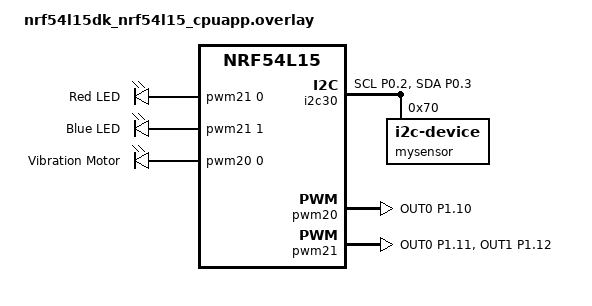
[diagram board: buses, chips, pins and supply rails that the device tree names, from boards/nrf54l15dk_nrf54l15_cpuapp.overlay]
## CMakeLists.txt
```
# SPDX-License-Identifier: Apache-2.0

cmake_minimum_required(VERSION 3.20.0)
find_package(Zephyr REQUIRED HINTS $ENV{ZEPHYR_BASE})
project(mvp)

target_sources(app PRIVATE 
#    src/main.c
#    src/led_control.c
#    src/button_input.c
#    src/motor_driver.c

    test/mpu6050.c
)

# 头文件路径
zephyr_include_directories(include)
```

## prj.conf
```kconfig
CONFIG_GPIO=y
CONFIG_PWM=y
CONFIG_LOG=y
CONFIG_LED=y
CONFIG_I2C=y
CONFIG_CBPRINTF_FP_SUPPORT=y
```

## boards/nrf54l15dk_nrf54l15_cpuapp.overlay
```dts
&i2c30 {
    status = "okay";
    pinctrl-0 = <&i2c30_default>;
	pinctrl-1 = <&i2c30_sleep>;
    pinctrl-names = "default", "sleep";
    mysensor: mysensor@70{
        compatible = "i2c-device";
        status = "okay";
        reg = < 0x70 >;
    };
};


// PWM20: 专门用于马达
&pwm20 {
    status = "okay";
    pinctrl-0 = <&pwm20_default_motor>;
    pinctrl-1 = <&pwm20_sleep_motor>;
    pinctrl-names = "default", "sleep";
};

// PWM21: 专门用于双色LED
&pwm21 {
    status = "okay";
    pinctrl-0 = <&pwm21_default_leds>;
    pinctrl-1 = <&pwm21_sleep_leds>;
    pinctrl-names = "default", "sleep";
};

&pinctrl {
    // PWM20 引脚配置 - 仅马达
    pwm20_default_motor: pwm20_default_motor {
        group1 {
            psels = <NRF_PSEL(PWM_OUT0, 1, 10)>;   /* 马达 P1.10, PWM20 ch0 */
        };
    };
    pwm20_sleep_motor: pwm20_sleep_motor {
        group1 {
            psels = <NRF_PSEL(PWM_OUT0, 1, 10)>;
            low-power-enable;
        };
    };

    // PWM21 引脚配置 - 仅双色LED  
    pwm21_default_leds: pwm21_default_leds {
        group1 {
            psels = <NRF_PSEL(PWM_OUT0, 1, 11)>,   /* 红灯 P1.11, PWM21 ch0 */
                    <NRF_PSEL(PWM_OUT1, 1, 12)>;   /* 蓝灯 P1.12, PWM21 ch1 */
        };
    };
    pwm21_sleep_leds: pwm21_sleep_leds {
        group1 {
            psels = <NRF_PSEL(PWM_OUT0, 1, 11)>,
                    <NRF_PSEL(PWM_OUT1, 1, 12)>;
            low-power-enable;
        };
    };

	/omit-if-no-ref/ i2c30_default: i2c30_default {
		group1  {
			psels = <NRF_PSEL(TWIM_SCL, 0, 2)>,
					<NRF_PSEL(TWIM_SDA, 0, 3)>;
		};
	};

	/omit-if-no-ref/ i2c30_sleep: i2c30_sleep {
		group1  {
			psels = <NRF_PSEL(TWIM_SCL, 0, 2)>,
					<NRF_PSEL(TWIM_SDA, 0, 3)>;
			low-power-enable;
		};
	};
};

/ {
    pwmleds {
        compatible = "pwm-leds";

        // 双色LED使用PWM21
        pwmred: pwmred {
            pwms = <&pwm21 0 PWM_MSEC(20) PWM_POLARITY_NORMAL>;  /* PWM21 ch0 P1.11 */
            label = "Red LED";
        };

        pwmblue: pwmblue {
            pwms = <&pwm21 1 PWM_MSEC(20) PWM_POLARITY_NORMAL>;  /* PWM21 ch1 P1.12 */
            label = "Blue LED";
        };

        // 马达使用PWM20
        pwmmotor: pwmmotor {
            pwms = <&pwm20 0 PWM_MSEC(20) PWM_POLARITY_NORMAL>;  /* PWM20 ch0 P1.10 */
            label = "Vibration Motor";
        };
    };

    aliases {
        ledred = &pwmred;
        ledblue = &pwmblue;
        motor0 = &pwmmotor;
        i2c0 = &i2c30;
    };
};
```

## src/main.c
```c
#include "led_control.h"
#include "button_input.h"
#include "motor_driver.h" // 后续你可以扩展
#include <zephyr/kernel.h>

void my_button_event(button_index_t idx, bool pressed)
{
    static led_mode_t led_mode = LED_MODE_RED;
    static int motor_pwm_mode = 0;

    if (!pressed) return; // 只处理按下事件，松开可做长按等

    switch(idx) {
    case BUTTON_SW0:
        // 切换 LED1 不同 PWM 模式
        led_mode = (led_mode+1)%LED_MODE_NUM;
        led_control_set_mode(led_mode);
        printk("LED模式切换到: %d\n", led_mode);
        break;
    case BUTTON_SW1:
        motor_pwm_mode = (motor_pwm_mode+1)%MOTOR_VIB_MODE_NUM;
        motor_driver_set_mode(motor_pwm_mode);     // 例: 不同PWM
        printk("马达PWM模式切换到: %d\n", motor_pwm_mode);
        break;
    case BUTTON_SW2:
        printk("BUTTON_SW2 pressed\n");
        break;
    case BUTTON_SW3:
        printk("BUTTON_SW3 pressed\n");
        break;
    default: break;
    }
}


#define LED_THREAD_STACK_SIZE 512
#define MOTOR_THREAD_STACK_SIZE 512
#define LED_THREAD_PRIORITY 5
#define MOTOR_THREAD_PRIORITY 5

K_THREAD_STACK_DEFINE(led_stack, LED_THREAD_STACK_SIZE);
K_THREAD_STACK_DEFINE(motor_stack, MOTOR_THREAD_STACK_SIZE);
struct k_thread led_thread_data;
struct k_thread motor_thread_data;

void led_thread_fn(void *a, void *b, void *c) {
    while (1) {
        led_control_periodic();
        k_msleep(15);
    }
}

void motor_thread_fn(void *a, void *b, void *c) {
    while (1) {
        motor_driver_periodic();
    }
}

void main(void)
{
    led_control_init();
    motor_driver_init();
    button_input_init(my_button_event);

    k_thread_create(&led_thread_data, led_stack, LED_THREAD_STACK_SIZE,
                    led_thread_fn, NULL, NULL, NULL,
                    LED_THREAD_PRIORITY, 0, K_NO_WAIT);

    k_thread_create(&motor_thread_data, motor_stack, MOTOR_THREAD_STACK_SIZE,
                    motor_thread_fn, NULL, NULL, NULL,
                    MOTOR_THREAD_PRIORITY, 0, K_NO_WAIT);

    while (1) {
        k_msleep(1000); // 主线程空转，可做看门狗等
    }
}
```

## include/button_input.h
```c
#include <stdbool.h>

#ifndef BUTTON_INPUT_H
#define BUTTON_INPUT_H

typedef enum {
    BUTTON_SW0 = 0,
    BUTTON_SW1,
    BUTTON_SW2,
    BUTTON_SW3,
    BUTTON_NUM
} button_index_t;

// 生产级: 每个按钮都传入index
typedef void (*button_event_cb_t)(button_index_t, bool pressed);
// bool pressed: true为按下，false为松开（可做长按逻辑）

int button_input_init(button_event_cb_t cb);

#endif
```

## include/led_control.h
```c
#ifndef LED_CONTROL_H
#define LED_CONTROL_H

#include <stdint.h>

typedef enum {
    LED_MODE_OFF = 0,
    LED_MODE_RED,
    LED_MODE_BLUE,
    LED_MODE_PURPLE,
    LED_MODE_BREATH,
    LED_MODE_FLASH,
    LED_MODE_USER,
    LED_MODE_USER_BREATH,
    LED_MODE_NUM
} led_mode_t;

// 初始化LED硬件
int led_control_init(void);

// 设置混色（占空比百分比），可灵活调用
void led_control_set_color(uint8_t red_percent, uint8_t blue_percent);

// 设置当前展示模式（预设的呼吸、危险等）
int led_control_set_mode(led_mode_t mode);

// 必须周期调用，一般main里刷新（可放定时器任务/线程里）
int led_control_periodic(void);

#endif
```

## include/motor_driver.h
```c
#ifndef MOTOR_DRIVER_H
#define MOTOR_DRIVER_H


typedef enum {
    MOTOR_VIB_OFF = 0,
	MOTOR_VIB_HEARTBEAT,
	MOTOR_VIB_TAP,
	MOTOR_VIB_LONG,
    MOTOR_VIB_MODE_NUM
} motor_vib_mode_t;

int motor_driver_init(void);
int motor_driver_set_mode(motor_vib_mode_t mode); // 选择振动模式
int motor_driver_periodic(void); // 可用于周期性处理

#endif
```

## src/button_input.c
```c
#include "button_input.h"
#include <zephyr/drivers/gpio.h>
#include <zephyr/kernel.h>

#define BUTTON_SW0_NODE DT_ALIAS(sw0)
#define BUTTON_SW1_NODE DT_ALIAS(sw1)
#define BUTTON_SW2_NODE DT_ALIAS(sw2)
#define BUTTON_SW3_NODE DT_ALIAS(sw3)

static const struct gpio_dt_spec buttons[BUTTON_NUM] = {
    GPIO_DT_SPEC_GET(BUTTON_SW0_NODE, gpios),
    GPIO_DT_SPEC_GET(BUTTON_SW1_NODE, gpios),
    GPIO_DT_SPEC_GET(BUTTON_SW2_NODE, gpios),
    GPIO_DT_SPEC_GET(BUTTON_SW3_NODE, gpios),
};

static struct gpio_callback btn_cb_data[BUTTON_NUM];
static button_event_cb_t g_btn_cb = NULL;

// 生产级支持所有SWx的callback
static void button_handler(const struct device *dev, struct gpio_callback *cb, uint32_t pins)
{
    for (int i = 0; i < BUTTON_NUM; ++i) {
        if ((pins & BIT(buttons[i].pin)) && g_btn_cb) {
            bool pressed = !gpio_pin_get_dt(&buttons[i]);     // Active low
            g_btn_cb(i, pressed);
        }
    }
}

int button_input_init(button_event_cb_t cb)
{
    g_btn_cb = cb;
    for(int i = 0; i < BUTTON_NUM; ++i) {
        if (!device_is_ready(buttons[i].port)) {
            printk("Button %d device not ready!\n", i);
        }
        gpio_pin_configure_dt(&buttons[i], GPIO_INPUT);
        gpio_pin_interrupt_configure_dt(&buttons[i], GPIO_INT_EDGE_BOTH); // 按下松开都响应

        gpio_init_callback(&btn_cb_data[i], button_handler, BIT(buttons[i].pin));
        gpio_add_callback(buttons[i].port, &btn_cb_data[i]);
    }
    return 0;
}
```

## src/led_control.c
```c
#include "led_control.h"
#include <zephyr/drivers/pwm.h>
#include <zephyr/kernel.h>
#include <math.h>        // for sin/pow

#define M_PI 3.14159265358979323846

// 呼吸灯参数
#define BREATH_PERIOD_MS    2000
#define BREATH_UPDATE_MS    10
#define BREATH_STEPS        (BREATH_PERIOD_MS / BREATH_UPDATE_MS)

static struct pwm_dt_spec led_red = PWM_DT_SPEC_GET(DT_ALIAS(ledred));
static struct pwm_dt_spec led_blue = PWM_DT_SPEC_GET(DT_ALIAS(ledblue));

static uint8_t current_red = 0;
static uint8_t current_blue = 0;
static led_mode_t current_mode = LED_MODE_RED;

int led_control_init(void)
{
    if (device_is_ready(led_red.dev) && device_is_ready(led_blue.dev)) {
        printk("LED Red PWM period: %u ns\n", led_red.period);
        printk("LED Blue PWM period: %u ns\n", led_blue.period);
    }
    led_control_set_color(0, 0);
    return 0;
}

void led_control_set_color(uint8_t red_percent, uint8_t blue_percent)
{
    if (red_percent > 100) red_percent = 100;
    if (blue_percent > 100) blue_percent = 100;
    current_red = red_percent;
    current_blue = blue_percent;
    pwm_set_dt(&led_red, led_red.period, (red_percent * led_red.period) / 100);
    pwm_set_dt(&led_blue, led_blue.period, (blue_percent * led_blue.period) / 100);
}

int led_control_set_mode(led_mode_t mode)
{
    current_mode = mode;
    return 0;
}

// 呼吸灯丝滑算法：正弦+伽马校正
static uint8_t sine_breathe(float phase)
{
    // phase: 0~2π, 输出0~100的“视觉均匀”亮度
    float raw = (sin(phase - M_PI/2) + 1.0f) / 2.0f; // sine, M_PI/2初始灭灯，0~1
    float gamma = 2.0f; // 亮度均匀视觉修正
    raw = powf(raw, gamma); // gamma校正
    uint8_t pct = (uint8_t)(raw * 100.0f);
    return pct;
}

int led_control_periodic(void)
{
    static int breath_cnt = 0;      // 呼吸步进
    static int blink = 0;           // 闪烁计数
    switch (current_mode) {
    case LED_MODE_BREATH: {
        breath_cnt = (breath_cnt + 1) % BREATH_STEPS;
        float phase = ((float)breath_cnt / (float)BREATH_STEPS) * 2.0f * M_PI; // 0~2π
        uint8_t blue = sine_breathe(phase);           // 蓝色亮度
        uint8_t red  = 100 - blue;                    // 红色反向
        led_control_set_color(red, blue);
        k_msleep(BREATH_UPDATE_MS);                   // 丝滑刷新，每步10ms
        }
        break;
    case LED_MODE_USER_BREATH: {
        breath_cnt = (breath_cnt + 1) % BREATH_STEPS;
        float phase = ((float)breath_cnt / (float)BREATH_STEPS) * 2.0f * M_PI;
 
        float raw = (sin(phase - M_PI/2) + 1.0f) / 2.0f;   // 0~1
        float gamma = 2.0f;
        raw = powf(raw, gamma);
 
        // 指定最小亮度
        float min_level = 0.2f;              // 最小为20%
        uint8_t red = (uint8_t)( (min_level + (1.0f - min_level)*raw) * 100 );
        uint8_t blue = (uint8_t)(red * 0.3f);   // 粉色（红主蓝辅）
 
        led_control_set_color(red, blue);
        k_msleep(BREATH_UPDATE_MS);
        }
        break;

    case LED_MODE_RED:
        led_control_set_color(100, 0); break;
    case LED_MODE_BLUE:
        led_control_set_color(0, 100); break;
    case LED_MODE_PURPLE:
        led_control_set_color(50, 50); break;
    case LED_MODE_FLASH:
        if (blink++ % 2)
            led_control_set_color(100, 0);
        else
            led_control_set_color(0, 100);
        k_msleep(250);   // 每250ms闪烁
        break;
    case LED_MODE_USER:
        led_control_set_color(80, 60); break;
    default:
        led_control_set_color(0, 0); break;
    }
    return 0;
}
```

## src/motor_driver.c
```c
#include <zephyr/logging/log.h>
#include "motor_driver.h"

LOG_MODULE_REGISTER(motor_driver, LOG_LEVEL_INF);

#include <zephyr/kernel.h>
#include <zephyr/device.h>
#include <zephyr/drivers/pwm.h>
#include <zephyr/logging/log.h>
#include "motor_driver.h"

#define PWM_VIB DT_ALIAS(motor0)

static const struct pwm_dt_spec pwm_vibrator = PWM_DT_SPEC_GET(PWM_VIB);
static motor_vib_mode_t current_mode = MOTOR_VIB_HEARTBEAT;

int motor_driver_init(void) {
	// 可扩展初始化
    return 0;
}

int motor_driver_set_mode(motor_vib_mode_t mode) {
	current_mode = mode;
}

// 心跳模式
static void vibrate_heartbeat(const struct pwm_dt_spec *pwm) {
	// 使用设备树中的周期，只设置占空比
	pwm_set_dt(pwm, pwm->period, (pwm->period * 95) / 100);  // 95%占空比
	k_msleep(60);
	pwm_set_dt(pwm, pwm->period, 0);  // 关闭
	k_msleep(80);
	pwm_set_dt(pwm, pwm->period, (pwm->period * 70) / 100);  // 70%占空比
	k_msleep(40);
	pwm_set_dt(pwm, pwm->period, 0);
	k_msleep(820);
}

// 轻拍模式
static void vibrate_tap(const struct pwm_dt_spec *pwm) {
	pwm_set_dt(pwm, pwm->period, (pwm->period * 90) / 100);  // 90%占空比
	k_msleep(50);
	pwm_set_dt(pwm, pwm->period, 0);
	k_msleep(200);
}

// 长震模式
static void vibrate_long(const struct pwm_dt_spec *pwm) {
	pwm_set_dt(pwm, pwm->period, (pwm->period * 90) / 100);
	k_msleep(400);
	pwm_set_dt(pwm, pwm->period, 0);
	k_msleep(600);
}

// 关闭模式
static void vibrate_stop(const struct pwm_dt_spec *pwm) {
	pwm_set_dt(pwm, pwm->period, 0);
}

int motor_driver_periodic(void) {
	if (!device_is_ready(pwm_vibrator.dev)) {
		LOG_ERR("PWM vibrator device not ready!");
		k_msleep(1000);
		return;
	}
	switch (current_mode) {
		case MOTOR_VIB_HEARTBEAT:
			vibrate_heartbeat(&pwm_vibrator);
			break;
		case MOTOR_VIB_TAP:
			vibrate_tap(&pwm_vibrator);
			break;
		case MOTOR_VIB_LONG:
			vibrate_long(&pwm_vibrator);
			break;
		default:
            vibrate_stop(&pwm_vibrator);
			break;
	}
    return 0;
}
```
